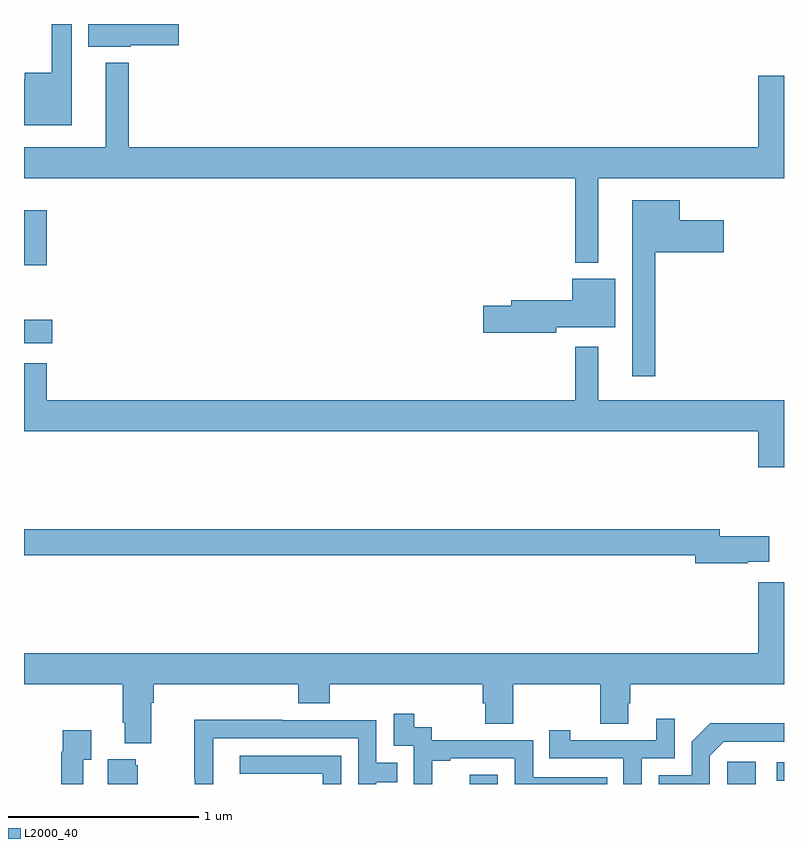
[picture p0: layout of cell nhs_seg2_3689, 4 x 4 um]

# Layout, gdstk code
import gdstk
lib = gdstk.Library(unit=1e-6, precision=1e-09)
def R(c, l, rs):  # rectangles x0, y0, x1, y1
    for r in rs: c.add(gdstk.rectangle(r[:2], r[2:], *l))
def P(c, l, *ps):  # polygons
    for p in ps: c.add(gdstk.Polygon(p, *l))
L2000_40 = (2000, 40)

nhs_seg2_3689 = lib.new_cell('nhs_seg2_3689')
R(nhs_seg2_3689, L2000_40, [(307.347,625.8,307.494,625.849), (308.7,625.8,308.851,625.918), (308.961,625.818,309,625.914), (305,628.121,305.149,628.243), (305,628.529,305.12,628.819)])
P(nhs_seg2_3689, L2000_40, [(305.251,629.8),(305.147,629.8),(305.147,629.543),(305.004,629.543),(305.004,629.512),(305,629.512),(305,629.267),(305.251,629.267)],
  [(305.562,629.687),(305.815,629.687),(305.815,629.8),(305.339,629.8),(305.339,629.681),(305.562,629.681)],
  [(308.023,628.988),(309,628.988),(309,629.527),(308.864,629.527),(308.864,629.152),(305.551,629.152),(305.551,629.596),(305.429,629.596),(305.429,629.152),(305,629.152),(305,628.988),(307.902,628.988),(307.902,628.544),(308.023,628.544)],
  [(308.323,628.598),(308.683,628.598),(308.683,628.768),(308.452,628.768),(308.452,628.873),(308.201,628.873),(308.201,627.945),(308.323,627.945)],
  [(307.8,628.205),(308.113,628.205),(308.113,628.459),(307.886,628.459),(307.886,628.346),(307.565,628.346),(307.565,628.316),(307.416,628.316),(307.416,628.174),(307.8,628.174)],
  [(309,627.82),(308.023,627.82),(308.023,628.102),(307.902,628.102),(307.902,627.82),(305.12,627.82),(305.12,628.015),(305,628.015),(305,627.656),(308.864,627.656),(308.864,627.468),(309,627.468)],
  [(308.81,626.969),(308.923,626.969),(308.923,627.104),(308.662,627.104),(308.662,627.14),(305,627.14),(305,627.004),(308.534,627.004),(308.534,626.962),(308.81,626.962)],
  [(305.671,626.228),(305.684,626.228),(305.684,626.324),(306.443,626.324),(306.443,626.225),(306.608,626.225),(306.608,626.324),(307.415,626.324),(307.415,626.226),(307.427,626.226),(307.427,626.116),(307.575,626.116),(307.575,626.324),(308.032,626.324),(308.032,626.116),(308.179,626.116),(308.179,626.226),(308.192,626.226),(308.192,626.324),(309,626.324),(309,626.863),(308.864,626.863),(308.864,626.488),(305,626.488),(305,626.324),(305.519,626.324),(305.519,626.122),(305.531,626.122),(305.531,626.015),(305.671,626.015)],
  [(307.148,625.923),(307.243,625.923),(307.243,625.935),(307.584,625.935),(307.584,625.8),(308.069,625.8),(308.069,625.836),(307.68,625.836),(307.68,626.031),(307.146,626.031),(307.146,626.1),(307.054,626.1),(307.054,626.17),(306.945,626.17),(306.945,626.001),(307.05,626.001),(307.05,625.8),(307.148,625.8)],
  [(308.25,625.935),(308.424,625.935),(308.424,626.143),(308.327,626.143),(308.327,626.031),(307.876,626.031),(307.876,626.083),(307.765,626.083),(307.765,625.935),(308.154,625.935),(308.154,625.8),(308.25,625.8)],
  [(305.995,626.04),(306.759,626.04),(306.759,625.8),(306.855,625.8),(306.855,625.81),(306.965,625.81),(306.965,625.911),(306.855,625.911),(306.855,626.136),(306.359,626.136),(306.359,626.138),(305.896,626.138),(305.896,625.831),(305.898,625.831),(305.898,625.8),(305.995,625.8)],
  [(308.61,625.95),(308.682,626.022),(309,626.022),(309,626.12),(308.612,626.12),(308.514,626.022),(308.514,625.845),(308.34,625.845),(308.34,625.8),(308.61,625.8)],
  [(305.313,625.927),(305.353,625.927),(305.353,626.083),(305.205,626.083),(305.205,625.97),(305.197,625.97),(305.197,625.8),(305.313,625.8)],
  [(306.669,625.95),(306.135,625.95),(306.135,625.854),(306.573,625.854),(306.573,625.8),(306.669,625.8)],
  [(305.599,625.899),(305.588,625.899),(305.588,625.93),(305.441,625.93),(305.441,625.8),(305.599,625.8)])

lib.write_gds('nhs_seg2_3689.gds')
